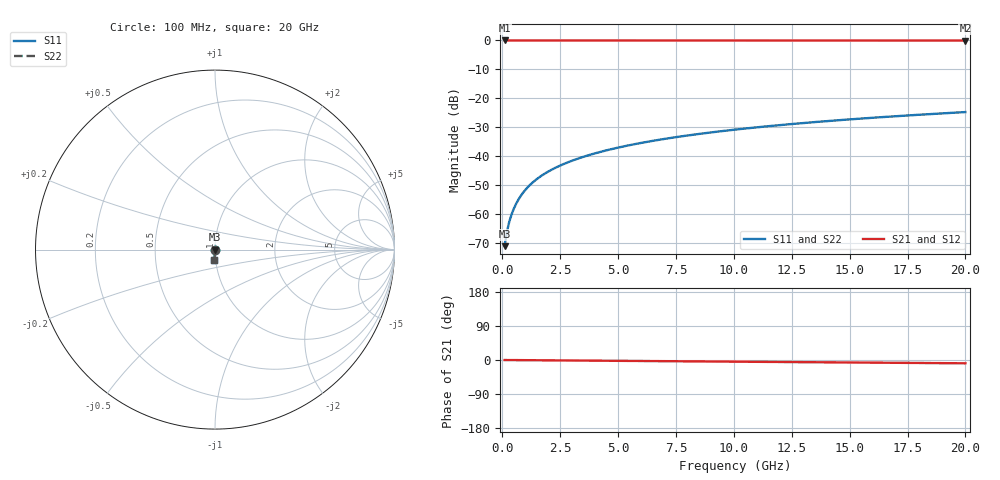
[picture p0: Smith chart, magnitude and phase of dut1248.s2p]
! Touchstone file exported from HFSS 2026.1.0
!  File:  C:/ffzhzh/LocalFiles/Ansys_Project_Files/temp_train_TSV_1248_1783193668_55132.aedt
!  Generated:  03:35:59 AM Jul  5, 2026
!  Design:  TSV
!  Project:  temp_train_TSV_1248_1783193668_55132
! Variables:
!  h_bsmrdl = 2um
!  h_ox = 20um
!  h_rdl = 5um
!  h_sub = 86.72um
!  h_tmrdl = 5um
!  h_tsv = 86.72um
!  h_via = 3um
!  l_bsmrdl = 300um
!  l_sub = 418.68um
!  l_tmrdl = 200um
!  m_sub = 200um
!  pitch = 26.8um
!  r_tsv = 9.34um
!  s_tmrdl = 10um
!  w_bsmrdl = 18um
!  w_sub = 500um
!  w_tmrdl = 12um
!  x_tsv_center1 = 206um
!  x_tsv_center2 = 524um
!  x_tsv_center3 = 736um
!  x_tsv_center4 = 1054um
!  x_tsv_center5 = 1266um
!  x_tsv_center6 = 1584um
# GHz S MA R 50.000000
! Terminal data exported
! Port[1] = TSV1_1_T1
! Port[2] = TSV1_1_T2
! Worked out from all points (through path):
!   200 points, 100 MHz to 20 GHz, reference 50 ohm
!   highest |S21| = 0.00 dB at 100 MHz (marker M1); lowest = 0.0 dB at 20 GHz (marker M2)
!   group delay of S21, straight-line fit = 1.21 ps
!   lowest |S11| = -70.9 dB at 100 MHz (marker M3), VSWR 1.00, Z = 50 - j0.0232 ohm
!   |S11| at or under -10 dB: start of sweep to end of sweep
!   |S22| runs from -70.9 to -24.7 dB; largest |S21 - S12| = 2.2e-15
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0.1  0.0002839 -54.8  0.9998 -0.0  0.9998 -0.0  0.0002839 -54.8
! Gamma 0 0 0 0
! Port Impedance 50 0 50 0
0.2  0.0005032 -68.7  0.9998 -0.1  0.9998 -0.1  0.0005032 -68.7
0.3  0.0007448 -73.7  0.9998 -0.1  0.9998 -0.1  0.0007448 -73.7
0.4  0.0009998 -76.1  0.9998 -0.2  0.9998 -0.2  0.0009998 -76.1
0.5  0.001265 -77.6  0.9997 -0.2  0.9997 -0.2  0.001265 -77.6
0.7  0.001815 -79.5  0.9997 -0.3  0.9997 -0.3  0.001815 -79.5
0.8  0.002097 -80.3  0.9996 -0.4  0.9996 -0.4  0.002097 -80.3
1  0.002666 -81.6  0.9996 -0.5  0.9996 -0.5  0.002666 -81.6
1.2  0.003239 -82.6  0.9995 -0.5  0.9995 -0.5  0.003239 -82.6
1.4  0.003813 -83.4  0.9995 -0.6  0.9995 -0.6  0.003813 -83.4
1.7  0.004674 -84.4  0.9995 -0.8  0.9995 -0.8  0.004674 -84.4
2  0.005535 -85.2  0.9994 -0.9  0.9994 -0.9  0.005535 -85.2
2.7  0.007547 -86.5  0.9993 -1.2  0.9993 -1.2  0.007547 -86.5
3.5  0.009854 -87.5  0.9993 -1.5  0.9993 -1.5  0.009854 -87.5
4.2  0.01188 -88.2  0.9992 -1.9  0.9992 -1.9  0.01188 -88.2
5  0.01421 -88.8  0.9991 -2.2  0.9991 -2.2  0.01421 -88.8
6.8  0.01947 -90.1  0.9988 -3.0  0.9988 -3.0  0.01947 -90.1
8.3  0.02387 -91.0  0.9986 -3.6  0.9986 -3.6  0.02387 -91.0
10.1  0.02916 -92.0  0.9984 -4.4  0.9984 -4.4  0.02916 -92.0
13.4  0.03886 -93.8  0.9978 -5.9  0.9978 -5.9  0.03886 -93.8
16.7  0.04855 -95.4  0.9973 -7.3  0.9973 -7.3  0.04855 -95.4
20  0.05822 -97.0  0.9966 -8.7  0.9966 -8.7  0.05822 -97.0
